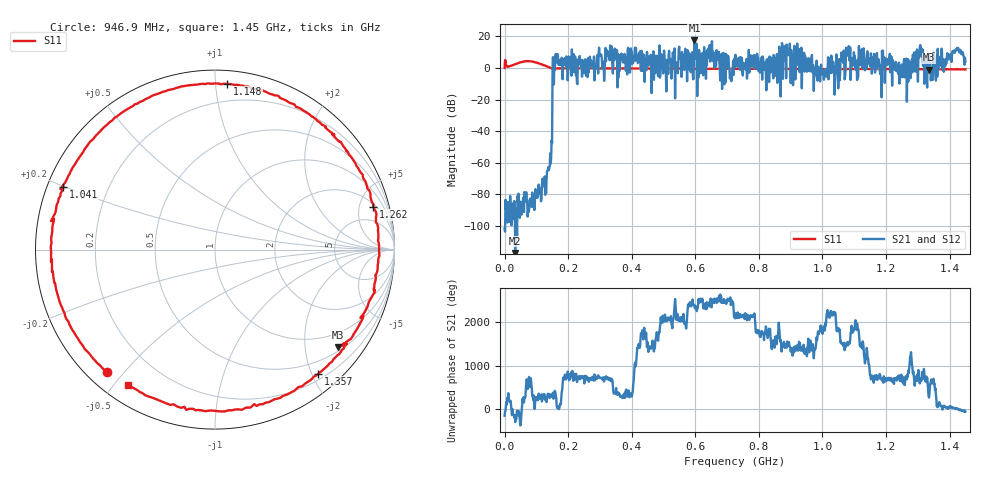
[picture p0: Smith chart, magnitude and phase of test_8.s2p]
! Created with skrf 1.11.0 (http://scikit-rf.org).
# Hz S RI R 50.0
!freq ReS11 ImS11 ReS21 ImS21 ReS12 ImS12 ReS22 ImS22
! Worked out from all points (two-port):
!   1001 points, 50 kHz to 1.45 GHz, reference 50 ohm
!   highest |S21| = 17.33 dB at 597.4 MHz (marker M1); lowest = -117.0 dB at 33.4 MHz (marker M2)
!   |S21| within 3 dB of the highest: 596.9106 MHz to 597.8031 MHz (892.4 kHz wide, 0.149 % of centre); 602.8449 MHz to 604.7032 MHz (1.858 MHz wide, 0.308 % of centre) (the widest 2 of 9)
!   lowest |S11| = -1.2 dB at 1.335 GHz (marker M3), VSWR 14.90, Z = 29.7 - j137 ohm
!   |S11| at or under -10 dB: nowhere
!   |S22| runs from - to - dB; largest |S21 - S12| = 0
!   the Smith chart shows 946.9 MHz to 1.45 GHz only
!   S11 on the Smith chart (normalised r, x): 946.9 MHz: 0.06, -0.45; 1.041 GHz: 0.05, +0.20; 1.148 GHz: 0.08, +1.07; 1.262 GHz: 2.32, +6.76; 1.357 GHz: 0.29, -2.10; 1.45 GHz: 0.07, -0.54
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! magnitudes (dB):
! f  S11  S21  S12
! 50 kHz  -0.1  -101.7  -101.7
! 33.4 MHz  2.3  -117.0  -117.0
! 134.9 MHz  0.8  -64.8  -64.8
! 142.1 MHz  0.2  -61.8  -61.8
! 158.1 MHz  -0.3  -1.5  -1.5
! 163.9 MHz  -0.3  5.9  5.9
! 242.2 MHz  -0.3  3.8  3.8
! 484.3 MHz  -0.4  7.3  7.3
! 597.4 MHz  -0.6  17.3  17.3
! 725 MHz  -0.6  0.4  0.4
! 946.9 MHz  -0.8  4.4  4.4
! 967.2 MHz  -0.8  8.2  8.2
! 1.041 GHz  -0.8  -3.7  -3.7
! 1.08 GHz  -0.7  11.0  11.0
! 1.148 GHz  -0.7  5.9  5.9
! 1.209 GHz  -0.7  2.2  2.2
! 1.262 GHz  -0.8  -3.2  -3.2
! 1.309 GHz  -0.7  12.2  12.2
! 1.335 GHz  -1.2  1.6  1.6
! 1.357 GHz  -0.9  -8.0  -8.0
! 1.421 GHz  -0.9  11.6  11.6
! 1.45 GHz  -0.9  4.0  4.0
